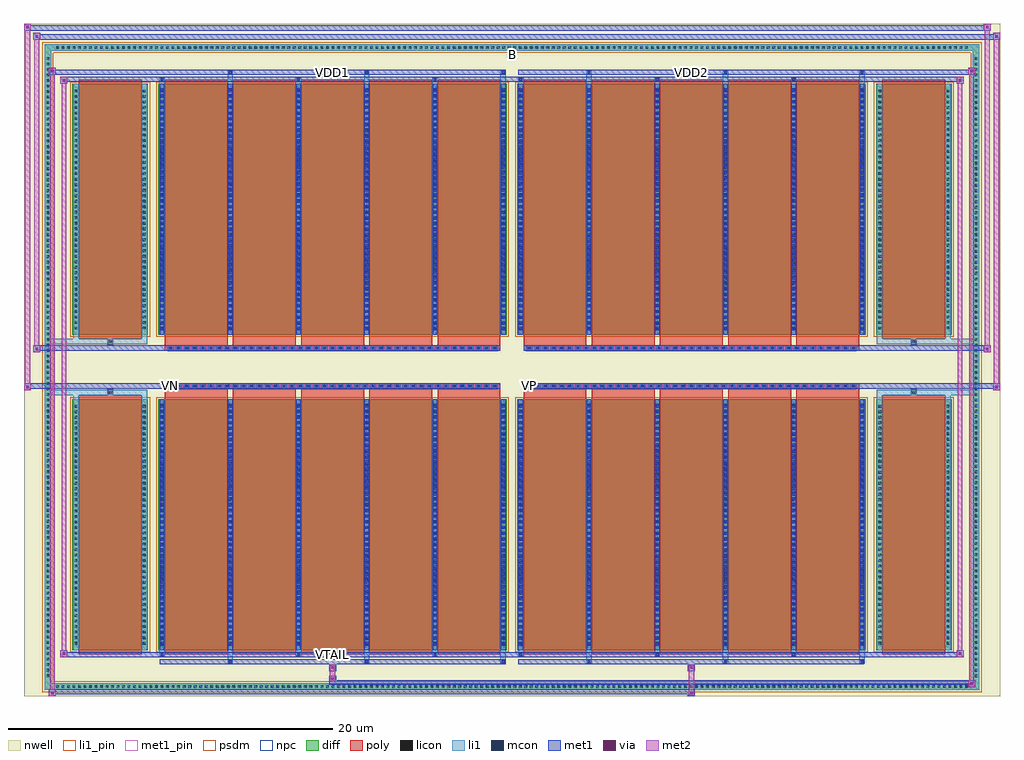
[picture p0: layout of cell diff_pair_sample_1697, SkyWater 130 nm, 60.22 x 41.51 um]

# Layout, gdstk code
import gdstk
lib = gdstk.Library(unit=1e-6, precision=5e-09)
def R(c, l, rs):  # rectangles x0, y0, x1, y1
    for r in rs: c.add(gdstk.rectangle(r[:2], r[2:], *l))
def A(c, l, x, y, w, h, nx, ny, dx, dy):  # array of equal rectangles
    R(c, l, [(x+i*dx, y+j*dy, x+i*dx+w, y+j*dy+h) for i in range(nx) for j in range(ny)])
def P(c, l, *ps):  # polygons
    for p in ps: c.add(gdstk.Polygon(p, *l))
nwell = (64, 20)
diff = (65, 20)
poly = (66, 20)
licon = (66, 44)
li1_pin = (67, 16)
li1 = (67, 20)
mcon = (67, 44)
met1_pin = (68, 16)
met1 = (68, 20)
via = (68, 44)
met2 = (69, 20)
psdm = (94, 20)
npc = (95, 20)

diff_pair_sample_1697 = lib.new_cell('diff_pair_sample_1697')
R(diff_pair_sample_1697, nwell, [(-30.11,-20.32,30.11,21.19), (-27.43,-18.51,-0.01,-0.805), (0.01,-18.51,27.43,-0.805), (-27.43,0.805,-0.01,18.51), (0.01,0.805,27.43,18.51)])
A(diff_pair_sample_1697, diff, -28.255, -19.92, 0.41, 0.41, 166, 2, 0.34, 39.43)
A(diff_pair_sample_1697, diff, -28.84, -19.245, 0.41, 0.41, 1, 113, 0, 0.34)
A(diff_pair_sample_1697, diff, 28.43, -19.245, 0.41, 0.41, 1, 113, 0, 0.34)
R(diff_pair_sample_1697, diff, [(-28.255,-19.92,28.255,-19.51), (-28.84,-19.245,-28.43,19.245), (28.43,-19.245,28.84,19.245), (-27.12,-17.465,-22.46,-1.985), (-21.82,-17.465,-0.32,-1.985), (0.32,-17.465,21.82,-1.985), (22.46,-17.465,27.12,-1.985), (-27.12,1.985,-22.46,17.465), (-21.82,1.985,-0.32,17.465), (0.32,1.985,21.82,17.465), (22.46,1.985,27.12,17.465), (-28.255,19.51,28.255,19.92)])
P(diff_pair_sample_1697, diff, [(28.84,19.92),(-28.84,19.92),(-28.84,-19.51),(-28.43,-19.51),(-28.43,19.51),(28.43,19.51),(28.43,-19.51),(-28.43,-19.51),(-28.84,-19.51),(-28.84,-19.92),(28.84,-19.92)])
A(diff_pair_sample_1697, poly, -21.43, -17.715, 3.88, 15.98, 5, 2, 4.21, 19.45)
A(diff_pair_sample_1697, poly, 0.71, -17.715, 3.88, 15.98, 5, 2, 4.21, 19.45)
A(diff_pair_sample_1697, poly, -21.43, -1.735, 3.88, 0.4, 5, 2, 4.21, 3.07)
A(diff_pair_sample_1697, poly, 0.71, -1.735, 3.88, 0.4, 5, 2, 4.21, 3.07)
A(diff_pair_sample_1697, poly, -21.235, -1.335, 0.33, 0.33, 41, 2, 0.5, 2.34)
A(diff_pair_sample_1697, poly, 0.905, -1.335, 0.33, 0.33, 41, 2, 0.5, 2.34)
R(diff_pair_sample_1697, poly, [(-26.73,-17.715,-22.85,-1.735), (22.85,-17.715,26.73,-1.735), (-24.955,-1.735,-24.625,-1.405), (-24.955,-1.735,-24.625,-1.405), (24.625,-1.735,24.955,-1.405), (24.625,-1.735,24.955,-1.405), (-21.43,-1.335,-0.71,-1.005), (0.71,-1.335,21.43,-1.005), (-21.43,1.005,-0.71,1.335), (0.71,1.005,21.43,1.335), (-24.955,1.405,-24.625,1.735), (-24.955,1.405,-24.625,1.735), (24.625,1.405,24.955,1.735), (24.625,1.405,24.955,1.735), (-26.73,1.735,-22.85,17.715), (22.85,1.735,26.73,17.715)])
A(diff_pair_sample_1697, licon, -28.135, -19.8, 0.17, 0.17, 166, 2, 0.34, 39.43)
A(diff_pair_sample_1697, licon, -28.72, -19.125, 0.17, 0.17, 1, 113, 0, 0.34)
A(diff_pair_sample_1697, licon, 28.55, -19.125, 0.17, 0.17, 1, 113, 0, 0.34)
A(diff_pair_sample_1697, licon, -26.98, -17.12, 0.17, 0.17, 1, 44, 0, 0.34)
A(diff_pair_sample_1697, licon, -22.77, -17.12, 0.17, 0.17, 1, 44, 0, 0.34)
A(diff_pair_sample_1697, licon, -21.68, -17.12, 0.17, 0.17, 6, 44, 4.21, 0.34)
A(diff_pair_sample_1697, licon, 0.46, -17.12, 0.17, 0.17, 6, 44, 4.21, 0.34)
A(diff_pair_sample_1697, licon, 22.6, -17.12, 0.17, 0.17, 1, 44, 0, 0.34)
A(diff_pair_sample_1697, licon, 26.81, -17.12, 0.17, 0.17, 1, 44, 0, 0.34)
A(diff_pair_sample_1697, licon, -21.155, -1.255, 0.17, 0.17, 41, 2, 0.5, 2.34)
A(diff_pair_sample_1697, licon, 0.985, -1.255, 0.17, 0.17, 41, 2, 0.5, 2.34)
A(diff_pair_sample_1697, licon, -26.98, 2.33, 0.17, 0.17, 1, 44, 0, 0.34)
A(diff_pair_sample_1697, licon, -22.77, 2.33, 0.17, 0.17, 1, 44, 0, 0.34)
A(diff_pair_sample_1697, licon, -21.68, 2.33, 0.17, 0.17, 6, 44, 4.21, 0.34)
A(diff_pair_sample_1697, licon, 0.46, 2.33, 0.17, 0.17, 6, 44, 4.21, 0.34)
A(diff_pair_sample_1697, licon, 22.6, 2.33, 0.17, 0.17, 1, 44, 0, 0.34)
A(diff_pair_sample_1697, licon, 26.81, 2.33, 0.17, 0.17, 1, 44, 0, 0.34)
R(diff_pair_sample_1697, licon, [(-24.875,-1.655,-24.705,-1.485), (24.705,-1.655,24.875,-1.485), (-24.875,1.485,-24.705,1.655), (24.705,1.485,24.875,1.655)])
R(diff_pair_sample_1697, li1_pin, [(-0.25,19.01,0.25,19.51)])
A(diff_pair_sample_1697, li1, -28.215, -19.88, 0.33, 0.33, 166, 2, 0.34, 39.43)
A(diff_pair_sample_1697, li1, -28.8, -19.205, 0.33, 0.33, 1, 113, 0, 0.34)
A(diff_pair_sample_1697, li1, 28.47, -19.205, 0.33, 0.33, 1, 113, 0, 0.34)
A(diff_pair_sample_1697, li1, -17.55, -18.27, 0.33, 0.805, 3, 2, 8.42, 35.735)
A(diff_pair_sample_1697, li1, -17.47, -18.27, 0.17, 0.17, 3, 2, 8.42, 36.37)
A(diff_pair_sample_1697, li1, 4.59, -18.27, 0.33, 0.805, 3, 2, 8.42, 35.735)
A(diff_pair_sample_1697, li1, 4.67, -18.27, 0.17, 0.17, 3, 2, 8.42, 36.37)
A(diff_pair_sample_1697, li1, -21.76, -17.84, 0.33, 0.375, 3, 2, 8.42, 35.305)
A(diff_pair_sample_1697, li1, -21.68, -17.84, 0.17, 0.17, 3, 2, 8.42, 35.51)
A(diff_pair_sample_1697, li1, 0.38, -17.84, 0.33, 0.375, 3, 2, 8.42, 35.305)
A(diff_pair_sample_1697, li1, 0.46, -17.84, 0.17, 0.17, 3, 2, 8.42, 35.51)
A(diff_pair_sample_1697, li1, -21.76, -17.465, 0.33, 15.48, 6, 2, 4.21, 19.45)
A(diff_pair_sample_1697, li1, 0.38, -17.465, 0.33, 15.48, 6, 2, 4.21, 19.45)
A(diff_pair_sample_1697, li1, -27.06, -17.2, 0.33, 0.33, 1, 44, 0, 0.34)
A(diff_pair_sample_1697, li1, -22.85, -17.2, 0.33, 0.33, 1, 44, 0, 0.34)
A(diff_pair_sample_1697, li1, -21.76, -17.2, 0.33, 0.33, 6, 44, 4.21, 0.34)
A(diff_pair_sample_1697, li1, 0.38, -17.2, 0.33, 0.33, 6, 44, 4.21, 0.34)
A(diff_pair_sample_1697, li1, 22.52, -17.2, 0.33, 0.33, 1, 44, 0, 0.34)
A(diff_pair_sample_1697, li1, 26.73, -17.2, 0.33, 0.33, 1, 44, 0, 0.34)
A(diff_pair_sample_1697, li1, -21.68, -17.19, 0.17, 0.17, 6, 42, 4.21, 0.36)
A(diff_pair_sample_1697, li1, -21.68, -17.19, 0.17, 14.93, 6, 2, 4.21, 19.45)
A(diff_pair_sample_1697, li1, 0.46, -17.19, 0.17, 0.17, 6, 42, 4.21, 0.36)
A(diff_pair_sample_1697, li1, 0.46, -17.19, 0.17, 14.93, 6, 2, 4.21, 19.45)
A(diff_pair_sample_1697, li1, -21.235, -1.335, 0.33, 0.33, 41, 2, 0.5, 2.34)
A(diff_pair_sample_1697, li1, 0.905, -1.335, 0.33, 0.33, 41, 2, 0.5, 2.34)
A(diff_pair_sample_1697, li1, -27.06, 2.25, 0.33, 0.33, 1, 44, 0, 0.34)
A(diff_pair_sample_1697, li1, -22.85, 2.25, 0.33, 0.33, 1, 44, 0, 0.34)
A(diff_pair_sample_1697, li1, -21.76, 2.25, 0.33, 0.33, 6, 44, 4.21, 0.34)
A(diff_pair_sample_1697, li1, 0.38, 2.25, 0.33, 0.33, 6, 44, 4.21, 0.34)
A(diff_pair_sample_1697, li1, 22.52, 2.25, 0.33, 0.33, 1, 44, 0, 0.34)
A(diff_pair_sample_1697, li1, 26.73, 2.25, 0.33, 0.33, 1, 44, 0, 0.34)
A(diff_pair_sample_1697, li1, -21.68, 2.26, 0.17, 0.17, 6, 42, 4.21, 0.36)
A(diff_pair_sample_1697, li1, 0.46, 2.26, 0.17, 0.17, 6, 42, 4.21, 0.36)
R(diff_pair_sample_1697, li1, [(-28.84,-19.92,-28.43,-19.51), (-28.84,-19.92,-28.43,-19.51), (-28.43,-19.92,28.43,-19.51), (28.43,-19.92,28.84,-19.51), (28.43,-19.92,28.84,-19.51), (-28.84,-19.51,-28.43,19.51), (28.43,-19.51,28.84,19.51), (-27.06,-17.465,-26.73,-1.985), (-22.85,-17.465,-22.52,-1.985), (22.52,-17.465,22.85,-1.985), (26.73,-17.465,27.06,-1.985), (-27.06,-1.985,-26.73,-1.405), (-22.85,-1.985,-22.52,-1.405), (22.52,-1.985,22.85,-1.405), (26.73,-1.985,27.06,-1.405), (-28.84,-1.735,-24.955,-1.405), (-27.06,-1.735,-24.955,-1.405), (-24.955,-1.735,-24.625,-1.405), (-24.625,-1.735,-22.52,-1.405), (22.52,-1.735,24.625,-1.405), (24.625,-1.735,24.955,-1.405), (24.625,-1.735,28.84,-1.405), (24.955,-1.735,27.06,-1.405), (-28.84,1.405,-24.955,1.735), (-27.06,1.405,-24.955,1.735), (-27.06,1.405,-26.73,1.985), (-24.955,1.405,-24.625,1.735), (-24.625,1.405,-22.52,1.735), (-22.85,1.405,-22.52,1.985), (22.52,1.405,24.625,1.735), (22.52,1.405,22.85,1.985), (24.625,1.405,24.955,1.735), (24.625,1.405,28.84,1.735), (24.955,1.405,27.06,1.735), (26.73,1.405,27.06,1.985), (-27.06,1.985,-26.73,17.465), (-22.85,1.985,-22.52,17.465), (22.52,1.985,22.85,17.465), (26.73,1.985,27.06,17.465), (-28.84,19.51,-28.43,19.92), (-28.84,19.51,-28.43,19.92), (-28.43,19.51,28.43,19.92), (28.43,19.51,28.84,19.92), (28.43,19.51,28.84,19.92)])
A(diff_pair_sample_1697, mcon, -17.47, -18.27, 0.17, 0.17, 3, 2, 8.42, 36.37)
A(diff_pair_sample_1697, mcon, 4.67, -18.27, 0.17, 0.17, 3, 2, 8.42, 36.37)
A(diff_pair_sample_1697, mcon, -21.68, -17.84, 0.17, 0.17, 3, 2, 8.42, 35.51)
A(diff_pair_sample_1697, mcon, 0.46, -17.84, 0.17, 0.17, 3, 2, 8.42, 35.51)
A(diff_pair_sample_1697, mcon, -21.68, -17.19, 0.17, 0.17, 6, 42, 4.21, 0.36)
A(diff_pair_sample_1697, mcon, 0.46, -17.19, 0.17, 0.17, 6, 42, 4.21, 0.36)
A(diff_pair_sample_1697, mcon, -21.155, -1.255, 0.17, 0.17, 41, 2, 0.5, 2.34)
A(diff_pair_sample_1697, mcon, 0.985, -1.255, 0.17, 0.17, 41, 2, 0.5, 2.34)
A(diff_pair_sample_1697, mcon, -21.68, 2.26, 0.17, 0.17, 6, 42, 4.21, 0.36)
A(diff_pair_sample_1697, mcon, 0.46, 2.26, 0.17, 0.17, 6, 42, 4.21, 0.36)
R(diff_pair_sample_1697, met1_pin, [(-11.205,-17.88,-10.935,-17.61), (-21.205,-1.295,-20.935,-1.025), (0.935,-1.295,1.205,-1.025), (-11.205,18.06,-10.935,18.33), (10.935,18.06,11.205,18.33)])
A(diff_pair_sample_1697, met1, -17.53, -18.33, 0.29, 0.29, 3, 2, 8.42, 36.37)
A(diff_pair_sample_1697, met1, 4.61, -18.33, 0.29, 0.29, 3, 2, 8.42, 36.37)
A(diff_pair_sample_1697, met1, -21.74, -17.9, 0.29, 0.29, 3, 2, 8.42, 35.51)
A(diff_pair_sample_1697, met1, 0.4, -17.9, 0.29, 0.29, 3, 2, 8.42, 35.51)
A(diff_pair_sample_1697, met1, -21.74, -17.465, 0.29, 15.48, 6, 2, 4.21, 19.45)
A(diff_pair_sample_1697, met1, 0.4, -17.465, 0.29, 15.48, 6, 2, 4.21, 19.45)
A(diff_pair_sample_1697, met1, -21.74, -17.25, 0.29, 0.29, 6, 42, 4.21, 0.36)
A(diff_pair_sample_1697, met1, 0.4, -17.25, 0.29, 0.29, 6, 42, 4.21, 0.36)
A(diff_pair_sample_1697, met1, -21.215, -1.315, 0.29, 0.29, 41, 2, 0.5, 2.34)
A(diff_pair_sample_1697, met1, 0.925, -1.315, 0.29, 0.29, 41, 2, 0.5, 2.34)
A(diff_pair_sample_1697, met1, -21.74, 2.2, 0.29, 0.29, 6, 42, 4.21, 0.36)
A(diff_pair_sample_1697, met1, 0.4, 2.2, 0.29, 0.29, 6, 42, 4.21, 0.36)
R(diff_pair_sample_1697, met1, [(-28.57,-20.32,-28.14,-19.89), (10.855,-20.32,11.285,-19.89), (-28.57,-20.18,11.285,-19.89), (28.14,-19.75,28.57,-19.32), (-11.285,-19.61,28.57,-19.32), (-11.285,-19.47,-10.855,-19.04), (-11.285,-18.76,-10.855,-18.33), (10.855,-18.76,11.285,-18.33), (-21.74,-18.33,-0.4,-18.04), (0.4,-18.33,21.74,-18.04), (-27.86,-17.9,-27.43,-17.47), (-27.86,-17.9,-21.74,-17.61), (-21.74,-17.9,-0.4,-17.61), (-0.4,-17.9,0.4,-17.61), (0.4,-17.9,21.74,-17.61), (21.74,-17.9,27.86,-17.61), (27.43,-17.9,27.86,-17.47), (-30.11,-1.435,-29.68,-1.005), (29.68,-1.435,30.11,-1.005), (-30.11,-1.335,-0.71,-1.005), (-21.43,-1.335,-0.71,-1.005), (0.71,-1.335,21.43,-1.005), (0.71,-1.335,30.11,-1.005), (-29.54,0.905,-29.11,1.335), (29.11,0.905,29.54,1.335), (-29.54,1.005,-21.43,1.335), (-21.43,1.005,-0.71,1.335), (0.71,1.005,21.43,1.335), (21.43,1.005,29.54,1.335), (-27.86,17.47,-27.43,17.9), (27.43,17.47,27.86,17.9), (-27.86,17.61,-21.74,17.9), (-21.74,17.61,-0.4,17.9), (-0.4,17.61,0.4,17.9), (0.4,17.61,21.74,17.9), (21.74,17.61,27.86,17.9), (-28.57,18.04,-28.14,18.47), (-28.57,18.04,-21.74,18.33), (-21.74,18.04,-0.4,18.33), (0.4,18.04,21.74,18.33), (21.74,18.04,28.57,18.33), (28.14,18.04,28.57,18.47), (-29.54,20.19,-29.11,20.62), (-29.54,20.19,-27.43,20.52), (-27.43,20.19,27.43,20.52), (27.43,20.19,30.11,20.52), (29.68,20.19,30.11,20.62), (-30.11,20.76,-29.68,21.19), (-30.11,20.76,-27.43,21.09), (-27.43,20.76,27.43,21.09), (27.43,20.76,29.54,21.09), (29.11,20.76,29.54,21.19)])
R(diff_pair_sample_1697, via, [(-28.43,-20.18,-28.28,-20.03), (10.995,-20.18,11.145,-20.03), (28.28,-19.61,28.43,-19.46), (-11.145,-19.33,-10.995,-19.18), (-11.145,-18.62,-10.995,-18.47), (10.995,-18.62,11.145,-18.47), (-27.72,-17.76,-27.57,-17.61), (27.57,-17.76,27.72,-17.61), (-29.97,-1.295,-29.82,-1.145), (29.82,-1.295,29.97,-1.145), (-29.4,1.045,-29.25,1.195), (29.25,1.045,29.4,1.195), (-27.72,17.61,-27.57,17.76), (27.57,17.61,27.72,17.76), (-28.43,18.18,-28.28,18.33), (28.28,18.18,28.43,18.33), (-29.4,20.33,-29.25,20.48), (29.82,20.33,29.97,20.48), (-29.97,20.9,-29.82,21.05), (29.25,20.9,29.4,21.05)])
R(diff_pair_sample_1697, met2, [(-28.57,-20.32,-28.14,-19.89), (-28.5,-20.32,-28.21,18.47), (-28.21,-20.32,-28.14,-19.89), (-28.52,-20.27,-28.19,-19.94), (10.905,-20.27,11.235,-19.94), (10.905,-19.94,11.235,-18.71), (28.14,-19.75,28.57,-19.32), (28.21,-19.75,28.5,18.47), (28.5,-19.75,28.57,-19.32), (28.19,-19.7,28.52,-19.37), (-11.235,-19.42,-10.905,-19.09), (-11.235,-19.09,-10.905,-18.71), (-11.235,-18.71,-10.905,-18.38), (10.905,-18.71,11.235,-18.38), (-27.86,-17.9,-27.43,-17.47), (-27.79,-17.9,-27.5,17.9), (-27.5,-17.9,-27.43,-17.47), (27.43,-17.9,27.86,-17.47), (27.5,-17.9,27.79,17.9), (27.79,-17.9,27.86,-17.47), (-27.81,-17.85,-27.48,-17.52), (27.48,-17.85,27.81,-17.52), (-30.11,-1.435,-29.68,-1.005), (-30.06,-1.435,-29.73,21.19), (-29.73,-1.435,-29.68,-1.005), (29.68,-1.435,30.11,-1.005), (29.73,-1.435,30.06,20.62), (30.06,-1.435,30.11,-1.005), (-30.06,-1.385,-29.73,-1.055), (29.73,-1.385,30.06,-1.055), (-29.54,0.905,-29.11,1.335), (-29.49,0.905,-29.16,20.62), (-29.16,0.905,-29.11,1.335), (29.11,0.905,29.54,1.335), (29.16,0.905,29.49,21.19), (29.49,0.905,29.54,1.335), (-29.49,0.955,-29.16,1.285), (29.16,0.955,29.49,1.285), (-27.86,17.47,-27.43,17.9), (-27.5,17.47,-27.43,17.9), (27.43,17.47,27.86,17.9), (27.79,17.47,27.86,17.9), (-27.81,17.52,-27.48,17.85), (27.48,17.52,27.81,17.85), (-28.57,18.04,-28.14,18.47), (-28.21,18.04,-28.14,18.47), (28.14,18.04,28.57,18.47), (28.5,18.04,28.57,18.47), (-28.52,18.09,-28.19,18.42), (28.19,18.09,28.52,18.42), (-29.54,20.19,-29.11,20.62), (-29.16,20.19,-29.11,20.62), (29.68,20.19,30.11,20.62), (30.06,20.19,30.11,20.62), (-29.49,20.24,-29.16,20.57), (29.73,20.24,30.06,20.57), (-30.11,20.76,-29.68,21.19), (-29.73,20.76,-29.68,21.19), (29.11,20.76,29.54,21.19), (29.49,20.76,29.54,21.19), (-30.06,20.81,-29.73,21.14), (29.16,20.81,29.49,21.14)])
R(diff_pair_sample_1697, psdm, [(-27.25,-17.595,-22.33,-1.855), (-21.95,-17.595,-0.19,-1.855), (0.19,-17.595,21.95,-1.855), (22.33,-17.595,27.25,-1.855), (-27.25,1.855,-22.33,17.595), (-21.95,1.855,-0.19,17.595), (0.19,1.855,21.95,17.595), (22.33,1.855,27.25,17.595)])
P(diff_pair_sample_1697, psdm, [(28.97,20.05),(-28.97,20.05),(-28.97,-19.38),(-28.3,-19.38),(-28.3,19.38),(28.3,19.38),(28.3,-19.38),(-28.3,-19.38),(-28.97,-19.38),(-28.97,-20.05),(28.97,-20.05)])
A(diff_pair_sample_1697, npc, -21.255, -1.355, 0.37, 0.37, 41, 2, 0.5, 2.34)
A(diff_pair_sample_1697, npc, 0.885, -1.355, 0.37, 0.37, 41, 2, 0.5, 2.34)
R(diff_pair_sample_1697, npc, [(-24.975,-1.755,-24.605,-1.385), (24.605,-1.755,24.975,-1.385), (-21.255,-1.355,-20.385,-0.985), (-21.255,-1.355,-20.385,-0.985), (-20.755,-1.355,-19.885,-0.985), (-20.755,-1.355,-19.885,-0.985), (-20.255,-1.355,-19.385,-0.985), (-20.255,-1.355,-19.385,-0.985), (-19.755,-1.355,-18.885,-0.985), (-19.755,-1.355,-18.885,-0.985), (-19.255,-1.355,-18.385,-0.985), (-19.255,-1.355,-18.385,-0.985), (-18.755,-1.355,-17.885,-0.985), (-18.755,-1.355,-17.885,-0.985), (-18.255,-1.355,-17.385,-0.985), (-18.255,-1.355,-17.385,-0.985), (-17.755,-1.355,-16.885,-0.985), (-17.755,-1.355,-16.885,-0.985), (-17.255,-1.355,-16.385,-0.985), (-17.255,-1.355,-16.385,-0.985), (-16.755,-1.355,-15.885,-0.985), (-16.755,-1.355,-15.885,-0.985), (-16.255,-1.355,-15.385,-0.985), (-16.255,-1.355,-15.385,-0.985), (-15.755,-1.355,-14.885,-0.985), (-15.755,-1.355,-14.885,-0.985), (-15.255,-1.355,-14.385,-0.985), (-15.255,-1.355,-14.385,-0.985), (-14.755,-1.355,-13.885,-0.985), (-14.755,-1.355,-13.885,-0.985), (-14.255,-1.355,-13.385,-0.985), (-14.255,-1.355,-13.385,-0.985), (-13.755,-1.355,-12.885,-0.985), (-13.755,-1.355,-12.885,-0.985), (-13.255,-1.355,-12.385,-0.985), (-13.255,-1.355,-12.385,-0.985), (-12.755,-1.355,-11.885,-0.985), (-12.755,-1.355,-11.885,-0.985), (-12.255,-1.355,-11.385,-0.985), (-12.255,-1.355,-11.385,-0.985), (-11.755,-1.355,-10.885,-0.985), (-11.755,-1.355,-10.885,-0.985), (-11.255,-1.355,-10.385,-0.985), (-11.255,-1.355,-10.385,-0.985), (-10.755,-1.355,-9.885,-0.985), (-10.755,-1.355,-9.885,-0.985), (-10.255,-1.355,-9.385,-0.985), (-10.255,-1.355,-9.385,-0.985), (-9.755,-1.355,-8.885,-0.985), (-9.755,-1.355,-8.885,-0.985), (-9.255,-1.355,-8.385,-0.985), (-9.255,-1.355,-8.385,-0.985), (-8.755,-1.355,-7.885,-0.985), (-8.755,-1.355,-7.885,-0.985), (-8.255,-1.355,-7.385,-0.985), (-8.255,-1.355,-7.385,-0.985), (-7.755,-1.355,-6.885,-0.985), (-7.755,-1.355,-6.885,-0.985), (-7.255,-1.355,-6.385,-0.985), (-7.255,-1.355,-6.385,-0.985), (-6.755,-1.355,-5.885,-0.985), (-6.755,-1.355,-5.885,-0.985), (-6.255,-1.355,-5.385,-0.985), (-6.255,-1.355,-5.385,-0.985), (-5.755,-1.355,-4.885,-0.985), (-5.755,-1.355,-4.885,-0.985), (-5.255,-1.355,-4.385,-0.985), (-5.255,-1.355,-4.385,-0.985), (-4.755,-1.355,-3.885,-0.985), (-4.755,-1.355,-3.885,-0.985), (-4.255,-1.355,-3.385,-0.985), (-4.255,-1.355,-3.385,-0.985), (-3.755,-1.355,-2.885,-0.985), (-3.755,-1.355,-2.885,-0.985), (-3.255,-1.355,-2.385,-0.985), (-3.255,-1.355,-2.385,-0.985), (-2.755,-1.355,-1.885,-0.985), (-2.755,-1.355,-1.885,-0.985), (-2.255,-1.355,-1.385,-0.985), (-2.255,-1.355,-1.385,-0.985), (-1.755,-1.355,-0.885,-0.985), (-1.755,-1.355,-0.885,-0.985), (0.885,-1.355,1.755,-0.985), (0.885,-1.355,1.755,-0.985), (1.385,-1.355,2.255,-0.985), (1.385,-1.355,2.255,-0.985), (1.885,-1.355,2.755,-0.985), (1.885,-1.355,2.755,-0.985), (2.385,-1.355,3.255,-0.985), (2.385,-1.355,3.255,-0.985), (2.885,-1.355,3.755,-0.985), (2.885,-1.355,3.755,-0.985), (3.385,-1.355,4.255,-0.985), (3.385,-1.355,4.255,-0.985), (3.885,-1.355,4.755,-0.985), (3.885,-1.355,4.755,-0.985), (4.385,-1.355,5.255,-0.985), (4.385,-1.355,5.255,-0.985), (4.885,-1.355,5.755,-0.985), (4.885,-1.355,5.755,-0.985), (5.385,-1.355,6.255,-0.985), (5.385,-1.355,6.255,-0.985), (5.885,-1.355,6.755,-0.985), (5.885,-1.355,6.755,-0.985), (6.385,-1.355,7.255,-0.985), (6.385,-1.355,7.255,-0.985), (6.885,-1.355,7.755,-0.985), (6.885,-1.355,7.755,-0.985), (7.385,-1.355,8.255,-0.985), (7.385,-1.355,8.255,-0.985), (7.885,-1.355,8.755,-0.985), (7.885,-1.355,8.755,-0.985), (8.385,-1.355,9.255,-0.985), (8.385,-1.355,9.255,-0.985), (8.885,-1.355,9.755,-0.985), (8.885,-1.355,9.755,-0.985), (9.385,-1.355,10.255,-0.985), (9.385,-1.355,10.255,-0.985), (9.885,-1.355,10.755,-0.985), (9.885,-1.355,10.755,-0.985), (10.385,-1.355,11.255,-0.985), (10.385,-1.355,11.255,-0.985), (10.885,-1.355,11.755,-0.985), (10.885,-1.355,11.755,-0.985), (11.385,-1.355,12.255,-0.985), (11.385,-1.355,12.255,-0.985), (11.885,-1.355,12.755,-0.985), (11.885,-1.355,12.755,-0.985), (12.385,-1.355,13.255,-0.985), (12.385,-1.355,13.255,-0.985), (12.885,-1.355,13.755,-0.985), (12.885,-1.355,13.755,-0.985), (13.385,-1.355,14.255,-0.985), (13.385,-1.355,14.255,-0.985), (13.885,-1.355,14.755,-0.985), (13.885,-1.355,14.755,-0.985), (14.385,-1.355,15.255,-0.985), (14.385,-1.355,15.255,-0.985), (14.885,-1.355,15.755,-0.985), (14.885,-1.355,15.755,-0.985), (15.385,-1.355,16.255,-0.985), (15.385,-1.355,16.255,-0.985), (15.885,-1.355,16.755,-0.985), (15.885,-1.355,16.755,-0.985), (16.385,-1.355,17.255,-0.985), (16.385,-1.355,17.255,-0.985), (16.885,-1.355,17.755,-0.985), (16.885,-1.355,17.755,-0.985), (17.385,-1.355,18.255,-0.985), (17.385,-1.355,18.255,-0.985), (17.885,-1.355,18.755,-0.985), (17.885,-1.355,18.755,-0.985), (18.385,-1.355,19.255,-0.985), (18.385,-1.355,19.255,-0.985), (18.885,-1.355,19.755,-0.985), (18.885,-1.355,19.755,-0.985), (19.385,-1.355,20.255,-0.985), (19.385,-1.355,20.255,-0.985), (19.885,-1.355,20.755,-0.985), (19.885,-1.355,20.755,-0.985), (20.385,-1.355,21.255,-0.985), (20.385,-1.355,21.255,-0.985), (-21.255,0.985,-20.385,1.355), (-21.255,0.985,-20.385,1.355), (-20.755,0.985,-19.885,1.355), (-20.755,0.985,-19.885,1.355), (-20.255,0.985,-19.385,1.355), (-20.255,0.985,-19.385,1.355), (-19.755,0.985,-18.885,1.355), (-19.755,0.985,-18.885,1.355), (-19.255,0.985,-18.385,1.355), (-19.255,0.985,-18.385,1.355), (-18.755,0.985,-17.885,1.355), (-18.755,0.985,-17.885,1.355), (-18.255,0.985,-17.385,1.355), (-18.255,0.985,-17.385,1.355), (-17.755,0.985,-16.885,1.355), (-17.755,0.985,-16.885,1.355), (-17.255,0.985,-16.385,1.355), (-17.255,0.985,-16.385,1.355), (-16.755,0.985,-15.885,1.355), (-16.755,0.985,-15.885,1.355), (-16.255,0.985,-15.385,1.355), (-16.255,0.985,-15.385,1.355), (-15.755,0.985,-14.885,1.355), (-15.755,0.985,-14.885,1.355), (-15.255,0.985,-14.385,1.355), (-15.255,0.985,-14.385,1.355), (-14.755,0.985,-13.885,1.355), (-14.755,0.985,-13.885,1.355), (-14.255,0.985,-13.385,1.355), (-14.255,0.985,-13.385,1.355), (-13.755,0.985,-12.885,1.355), (-13.755,0.985,-12.885,1.355), (-13.255,0.985,-12.385,1.355), (-13.255,0.985,-12.385,1.355), (-12.755,0.985,-11.885,1.355), (-12.755,0.985,-11.885,1.355), (-12.255,0.985,-11.385,1.355), (-12.255,0.985,-11.385,1.355), (-11.755,0.985,-10.885,1.355), (-11.755,0.985,-10.885,1.355), (-11.255,0.985,-10.385,1.355), (-11.255,0.985,-10.385,1.355), (-10.755,0.985,-9.885,1.355), (-10.755,0.985,-9.885,1.355), (-10.255,0.985,-9.385,1.355), (-10.255,0.985,-9.385,1.355), (-9.755,0.985,-8.885,1.355), (-9.755,0.985,-8.885,1.355), (-9.255,0.985,-8.385,1.355), (-9.255,0.985,-8.385,1.355), (-8.755,0.985,-7.885,1.355), (-8.755,0.985,-7.885,1.355), (-8.255,0.985,-7.385,1.355), (-8.255,0.985,-7.385,1.355), (-7.755,0.985,-6.885,1.355), (-7.755,0.985,-6.885,1.355), (-7.255,0.985,-6.385,1.355), (-7.255,0.985,-6.385,1.355), (-6.755,0.985,-5.885,1.355), (-6.755,0.985,-5.885,1.355), (-6.255,0.985,-5.385,1.355), (-6.255,0.985,-5.385,1.355), (-5.755,0.985,-4.885,1.355), (-5.755,0.985,-4.885,1.355), (-5.255,0.985,-4.385,1.355), (-5.255,0.985,-4.385,1.355), (-4.755,0.985,-3.885,1.355), (-4.755,0.985,-3.885,1.355), (-4.255,0.985,-3.385,1.355), (-4.255,0.985,-3.385,1.355), (-3.755,0.985,-2.885,1.355), (-3.755,0.985,-2.885,1.355), (-3.255,0.985,-2.385,1.355), (-3.255,0.985,-2.385,1.355), (-2.755,0.985,-1.885,1.355), (-2.755,0.985,-1.885,1.355), (-2.255,0.985,-1.385,1.355), (-2.255,0.985,-1.385,1.355), (-1.755,0.985,-0.885,1.355), (-1.755,0.985,-0.885,1.355), (0.885,0.985,1.755,1.355), (0.885,0.985,1.755,1.355), (1.385,0.985,2.255,1.355), (1.385,0.985,2.255,1.355), (1.885,0.985,2.755,1.355), (1.885,0.985,2.755,1.355), (2.385,0.985,3.255,1.355), (2.385,0.985,3.255,1.355), (2.885,0.985,3.755,1.355), (2.885,0.985,3.755,1.355), (3.385,0.985,4.255,1.355), (3.385,0.985,4.255,1.355), (3.885,0.985,4.755,1.355), (3.885,0.985,4.755,1.355), (4.385,0.985,5.255,1.355), (4.385,0.985,5.255,1.355), (4.885,0.985,5.755,1.355), (4.885,0.985,5.755,1.355), (5.385,0.985,6.255,1.355), (5.385,0.985,6.255,1.355), (5.885,0.985,6.755,1.355), (5.885,0.985,6.755,1.355), (6.385,0.985,7.255,1.355), (6.385,0.985,7.255,1.355), (6.885,0.985,7.755,1.355), (6.885,0.985,7.755,1.355), (7.385,0.985,8.255,1.355), (7.385,0.985,8.255,1.355), (7.885,0.985,8.755,1.355), (7.885,0.985,8.755,1.355), (8.385,0.985,9.255,1.355), (8.385,0.985,9.255,1.355), (8.885,0.985,9.755,1.355), (8.885,0.985,9.755,1.355), (9.385,0.985,10.255,1.355), (9.385,0.985,10.255,1.355), (9.885,0.985,10.755,1.355), (9.885,0.985,10.755,1.355), (10.385,0.985,11.255,1.355), (10.385,0.985,11.255,1.355), (10.885,0.985,11.755,1.355), (10.885,0.985,11.755,1.355), (11.385,0.985,12.255,1.355), (11.385,0.985,12.255,1.355), (11.885,0.985,12.755,1.355), (11.885,0.985,12.755,1.355), (12.385,0.985,13.255,1.355), (12.385,0.985,13.255,1.355), (12.885,0.985,13.755,1.355), (12.885,0.985,13.755,1.355), (13.385,0.985,14.255,1.355), (13.385,0.985,14.255,1.355), (13.885,0.985,14.755,1.355), (13.885,0.985,14.755,1.355), (14.385,0.985,15.255,1.355), (14.385,0.985,15.255,1.355), (14.885,0.985,15.755,1.355), (14.885,0.985,15.755,1.355), (15.385,0.985,16.255,1.355), (15.385,0.985,16.255,1.355), (15.885,0.985,16.755,1.355), (15.885,0.985,16.755,1.355), (16.385,0.985,17.255,1.355), (16.385,0.985,17.255,1.355), (16.885,0.985,17.755,1.355), (16.885,0.985,17.755,1.355), (17.385,0.985,18.255,1.355), (17.385,0.985,18.255,1.355), (17.885,0.985,18.755,1.355), (17.885,0.985,18.755,1.355), (18.385,0.985,19.255,1.355), (18.385,0.985,19.255,1.355), (18.885,0.985,19.755,1.355), (18.885,0.985,19.755,1.355), (19.385,0.985,20.255,1.355), (19.385,0.985,20.255,1.355), (19.885,0.985,20.755,1.355), (19.885,0.985,20.755,1.355), (20.385,0.985,21.255,1.355), (20.385,0.985,21.255,1.355), (-24.975,1.385,-24.605,1.755), (24.605,1.385,24.975,1.755)])
diff_pair_sample_1697.add(gdstk.Label('VTAIL', (-11.07,-17.745), layer=68, texttype=5))
diff_pair_sample_1697.add(gdstk.Label('VN', (-21.07,-1.16), layer=68, texttype=5))
diff_pair_sample_1697.add(gdstk.Label('VP', (1.07,-1.16), layer=68, texttype=5))
diff_pair_sample_1697.add(gdstk.Label('B', (0,19.26), layer=67, texttype=5))
diff_pair_sample_1697.add(gdstk.Label('VDD2', (11.07,18.195), layer=68, texttype=5))
diff_pair_sample_1697.add(gdstk.Label('VDD1', (-11.07,18.195), layer=68, texttype=5))

lib.write_gds('diff_pair_sample_1697.gds')
